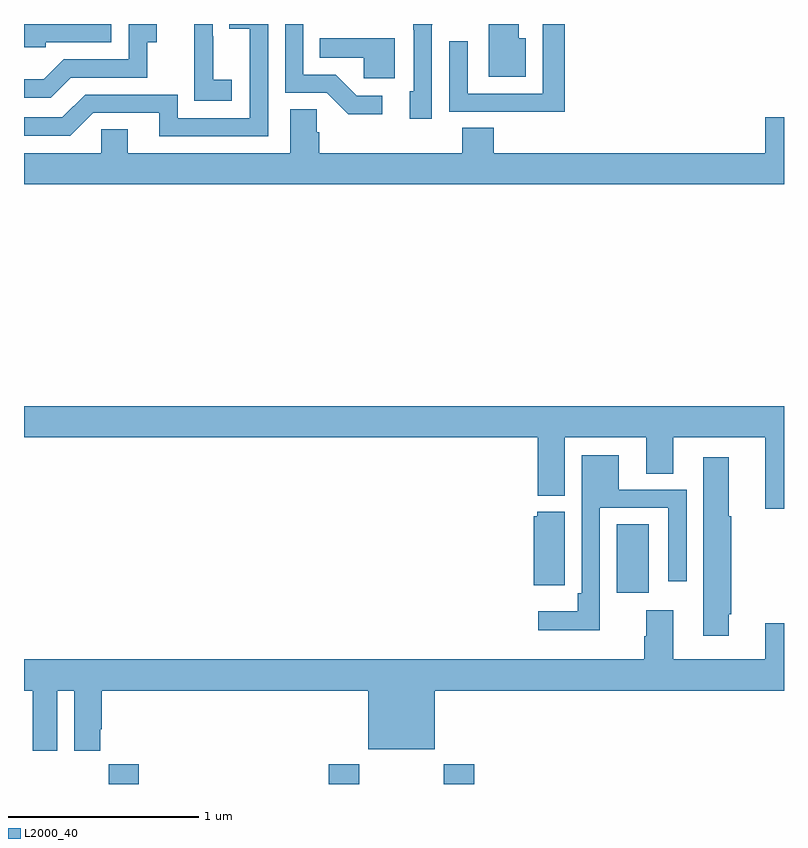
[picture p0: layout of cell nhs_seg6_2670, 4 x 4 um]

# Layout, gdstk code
import gdstk
lib = gdstk.Library(unit=1e-6, precision=1e-09)
def R(c, l, rs):  # rectangles x0, y0, x1, y1
    for r in rs: c.add(gdstk.rectangle(r[:2], r[2:], *l))
def P(c, l, *ps):  # polygons
    for p in ps: c.add(gdstk.Polygon(p, *l))
L2000_40 = (2000, 40)

nhs_seg6_2670 = lib.new_cell('nhs_seg6_2670')
R(nhs_seg6_2670, L2000_40, [(269.447,957.5,269.603,957.604), (270.605,957.5,270.765,957.604), (271.21,957.5,271.37,957.604), (272.12,958.506,272.287,958.868)])
P(nhs_seg6_2670, L2000_40, [(270.886,961.122),(270.751,961.122),(270.64,961.233),(270.471,961.233),(270.471,961.5),(270.375,961.5),(270.375,961.137),(270.594,961.137),(270.707,961.025),(270.886,961.025)],
  [(271.146,961.495),(271.149,961.495),(271.149,961.5),(271.049,961.5),(271.049,961.471),(271.05,961.471),(271.05,961.146),(271.031,961.146),(271.031,961.002),(271.146,961.002)],
  [(270.285,961.5),(270.079,961.5),(270.079,961.474),(270.189,961.474),(270.189,961.005),(269.808,961.005),(269.808,961.128),(269.322,961.128),(269.202,961.008),(269,961.008),(269,960.912),(269.244,960.912),(269.364,961.032),(269.711,961.032),(269.711,960.909),(270.285,960.909)],
  [(271.642,961.426),(271.603,961.426),(271.603,961.5),(271.445,961.5),(271.445,961.223),(271.642,961.223)],
  [(271.847,961.5),(271.731,961.5),(271.731,961.134),(271.335,961.134),(271.335,961.408),(271.239,961.408),(271.239,961.038),(271.555,961.038),(271.555,961.037),(271.847,961.037)],
  [(269.115,961.404),(269.46,961.404),(269.46,961.5),(269,961.5),(269,961.377),(269.115,961.377)],
  [(270.094,961.207),(269.996,961.207),(269.996,961.436),(269.994,961.436),(269.994,961.5),(269.897,961.5),(269.897,961.303),(269.896,961.303),(269.896,961.097),(270.094,961.097)],
  [(269.245,961.218),(269.649,961.218),(269.649,961.403),(269.698,961.403),(269.698,961.5),(269.55,961.5),(269.55,961.314),(269.208,961.314),(269.104,961.21),(269,961.21),(269,961.113),(269.14,961.113)],
  [(270.952,961.426),(270.556,961.426),(270.556,961.322),(270.787,961.322),(270.787,961.214),(270.952,961.214)],
  [(273,961.009),(272.9,961.009),(272.9,960.82),(271.472,960.82),(271.472,960.953),(271.307,960.953),(271.307,960.82),(270.554,960.82),(270.554,960.929),(270.54,960.929),(270.54,961.052),(270.401,961.052),(270.401,960.82),(269.545,960.82),(269.545,960.947),(269.406,960.947),(269.406,960.82),(269,960.82),(269,960.656),(273,960.656)],
  [(273,959.488),(269,959.488),(269,959.324),(271.703,959.324),(271.703,959.018),(271.846,959.018),(271.846,959.324),(272.276,959.324),(272.276,959.134),(272.416,959.134),(272.416,959.324),(272.9,959.324),(272.9,958.95),(273,958.95)],
  [(272.031,958.953),(272.391,958.953),(272.391,958.566),(272.487,958.566),(272.487,959.049),(272.131,959.049),(272.131,959.23),(271.935,959.23),(271.935,958.504),(271.915,958.504),(271.915,958.408),(271.707,958.408),(271.707,958.31),(272.031,958.31)],
  [(272.71,958.393),(272.723,958.393),(272.723,958.908),(272.71,958.908),(272.71,959.221),(272.576,959.221),(272.576,958.281),(272.71,958.281)],
  [(271.846,958.933),(271.701,958.933),(271.701,958.908),(271.682,958.908),(271.682,958.547),(271.846,958.547)],
  [(269.176,957.992),(269.264,957.992),(269.264,957.675),(269.401,957.675),(269.401,957.787),(269.408,957.787),(269.408,957.992),(270.812,957.992),(270.812,957.683),(271.162,957.683),(271.162,957.992),(273,957.992),(273,958.345),(272.9,958.345),(272.9,958.156),(272.416,958.156),(272.416,958.414),(272.276,958.414),(272.276,958.277),(272.264,958.277),(272.264,958.156),(269,958.156),(269,957.992),(269.045,957.992),(269.045,957.675),(269.176,957.675)])

lib.write_gds('nhs_seg6_2670.gds')
